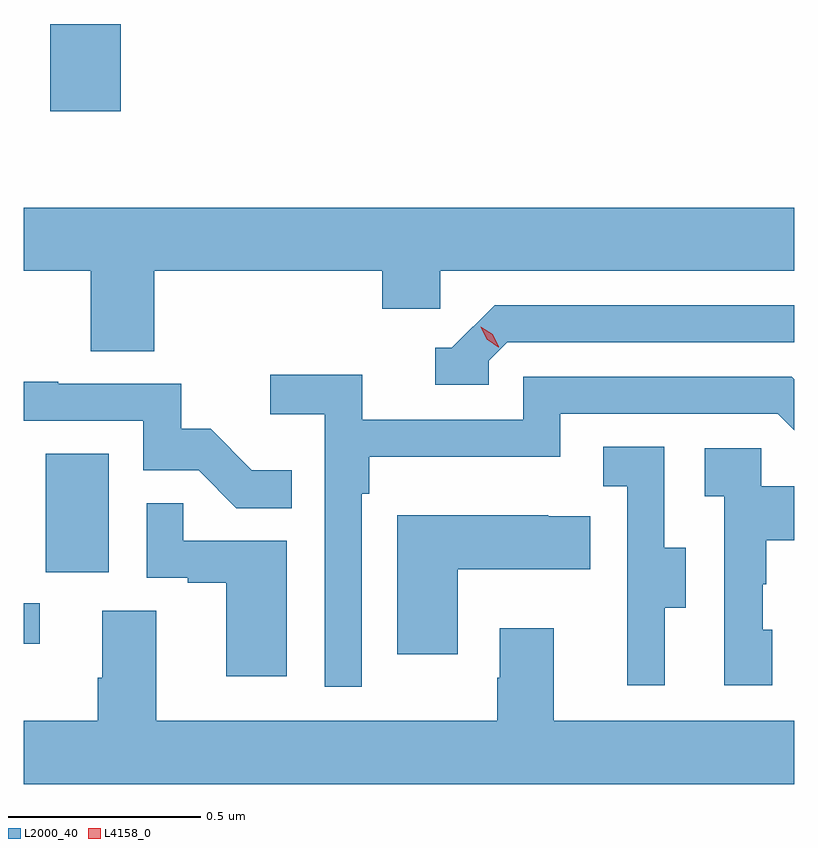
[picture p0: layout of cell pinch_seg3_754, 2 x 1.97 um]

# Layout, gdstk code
import gdstk
lib = gdstk.Library(unit=1e-6, precision=1e-09)
def R(c, l, rs):  # rectangles x0, y0, x1, y1
    for r in rs: c.add(gdstk.rectangle(r[:2], r[2:], *l))
def P(c, l, *ps):  # polygons
    for p in ps: c.add(gdstk.Polygon(p, *l))
L2000_40 = (2000, 40)
L4158_0 = (4158, 0)

pinch_seg3_754 = lib.new_cell('pinch_seg3_754')
R(pinch_seg3_754, L2000_40, [(865.673,739.908,865.714,740.013), (865.73,740.094,865.894,740.401), (865.742,741.291,865.925,741.517)])
P(pinch_seg3_754, L2000_40, [(866.012,740.876),(866.603,740.876),(866.603,740.778),(866.754,740.778),(866.754,740.876),(867.673,740.876),(867.673,741.04),(865.673,741.04),(865.673,740.876),(865.847,740.876),(865.847,740.668),(866.012,740.668)],
  [(866.88,740.643),(866.928,740.691),(867.673,740.691),(867.673,740.787),(866.895,740.787),(866.784,740.676),(866.741,740.676),(866.741,740.58),(866.88,740.58)],
  [(866.55,740.297),(866.57,740.297),(866.57,740.393),(867.066,740.393),(867.066,740.505),(867.63,740.505),(867.673,740.462),(867.673,740.595),(867.667,740.601),(866.97,740.601),(866.97,740.49),(866.552,740.49),(866.552,740.606),(866.313,740.606),(866.313,740.504),(866.454,740.504),(866.454,739.797),(866.55,739.797)],
  [(866.369,740.359),(866.265,740.359),(866.158,740.466),(866.082,740.466),(866.082,740.583),(865.763,740.583),(865.763,740.588),(865.673,740.588),(865.673,740.487),(865.983,740.487),(865.983,740.358),(866.127,740.358),(866.225,740.26),(866.369,740.26)],
  [(867.337,740.002),(867.391,740.002),(867.391,740.157),(867.336,740.157),(867.336,740.42),(867.177,740.42),(867.177,740.317),(867.24,740.317),(867.24,740.013),(867.239,740.013),(867.239,739.8),(867.337,739.8)],
  [(867.616,739.944),(867.591,739.944),(867.591,740.063),(867.601,740.063),(867.601,740.177),(867.673,740.177),(867.673,740.317),(867.588,740.317),(867.588,740.415),(867.441,740.415),(867.441,740.291),(867.492,740.291),(867.492,739.8),(867.616,739.8)],
  [(866.356,740.175),(866.087,740.175),(866.087,740.273),(865.992,740.273),(865.992,740.079),(866.099,740.079),(866.099,740.067),(866.198,740.067),(866.198,739.824),(866.356,739.824)],
  [(866.8,740.102),(867.143,740.102),(867.143,740.239),(867.035,740.239),(867.035,740.242),(866.642,740.242),(866.642,739.881),(866.8,739.881)],
  [(867.673,739.708),(867.049,739.708),(867.049,739.948),(866.909,739.948),(866.909,739.82),(866.902,739.82),(866.902,739.708),(866.017,739.708),(866.017,739.994),(865.877,739.994),(865.877,739.82),(865.865,739.82),(865.865,739.708),(865.673,739.708),(865.673,739.544),(867.673,739.544)])
P(pinch_seg3_754, L4158_0, [(866.905,740.678),(866.875,740.698),(866.859,740.731),(866.859,740.731),(866.859,740.731),(866.89,740.711),(866.906,740.679),(866.906,740.678)])

lib.write_gds('pinch_seg3_754.gds')
